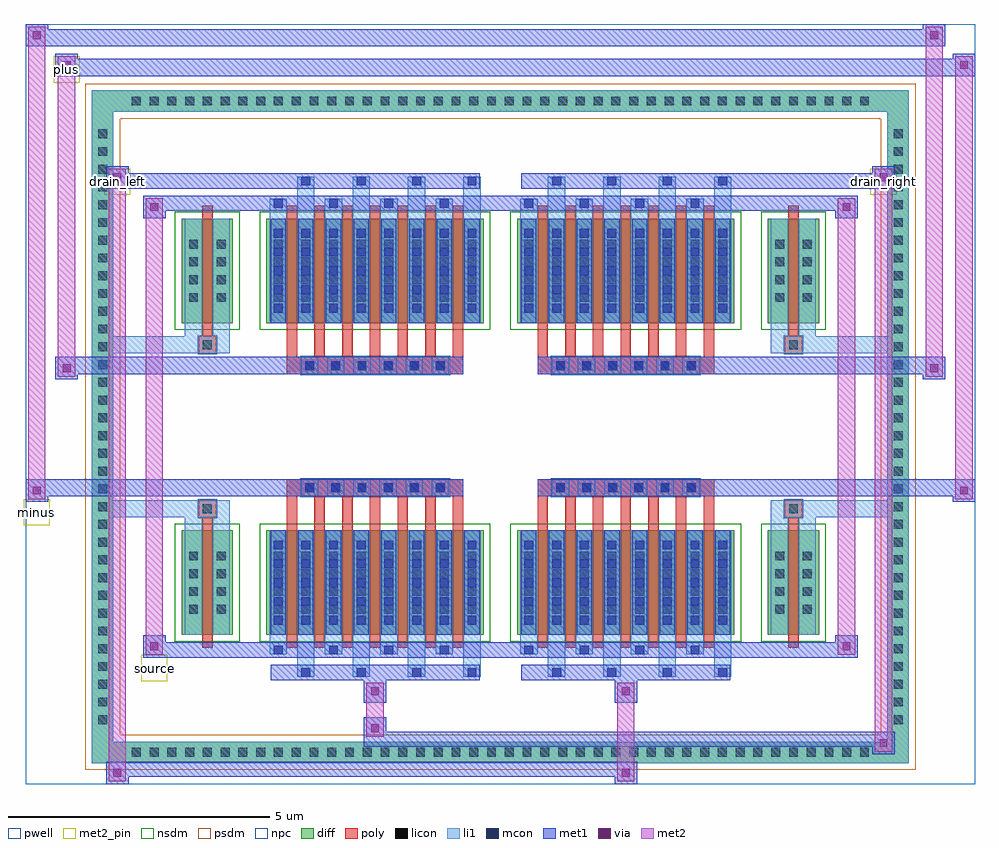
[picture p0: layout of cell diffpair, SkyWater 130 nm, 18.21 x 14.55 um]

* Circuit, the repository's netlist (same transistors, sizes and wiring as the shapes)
* NGSPICE file created from diffpair.ext - technology: sky130A

.subckt diffpair minus drain_right drain_left source plus
X0 drain_left plus source a_n1564_n1288# sky130_fd_pr__nfet_01v8 ad=0.78 pd=4.78 as=0.33 ps=2.33 w=2 l=0.2
X1 drain_right minus source a_n1564_n1288# sky130_fd_pr__nfet_01v8 ad=0.33 pd=2.33 as=0.33 ps=2.33 w=2 l=0.2
X2 source minus drain_right a_n1564_n1288# sky130_fd_pr__nfet_01v8 ad=0.33 pd=2.33 as=0.33 ps=2.33 w=2 l=0.2
X3 source plus drain_left a_n1564_n1288# sky130_fd_pr__nfet_01v8 ad=0.33 pd=2.33 as=0.33 ps=2.33 w=2 l=0.2
X4 drain_right minus source a_n1564_n1288# sky130_fd_pr__nfet_01v8 ad=0.33 pd=2.33 as=0.33 ps=2.33 w=2 l=0.2
X5 drain_right minus source a_n1564_n1288# sky130_fd_pr__nfet_01v8 ad=0.78 pd=4.78 as=0.33 ps=2.33 w=2 l=0.2
X6 source plus drain_left a_n1564_n1288# sky130_fd_pr__nfet_01v8 ad=0.33 pd=2.33 as=0.33 ps=2.33 w=2 l=0.2
X7 drain_left plus source a_n1564_n1288# sky130_fd_pr__nfet_01v8 ad=0.33 pd=2.33 as=0.78 ps=4.78 w=2 l=0.2
X8 source plus drain_left a_n1564_n1288# sky130_fd_pr__nfet_01v8 ad=0.33 pd=2.33 as=0.33 ps=2.33 w=2 l=0.2
X9 drain_left plus source a_n1564_n1288# sky130_fd_pr__nfet_01v8 ad=0.33 pd=2.33 as=0.33 ps=2.33 w=2 l=0.2
X10 source minus drain_right a_n1564_n1288# sky130_fd_pr__nfet_01v8 ad=0.33 pd=2.33 as=0.33 ps=2.33 w=2 l=0.2
X11 source minus drain_right a_n1564_n1288# sky130_fd_pr__nfet_01v8 ad=0.33 pd=2.33 as=0.33 ps=2.33 w=2 l=0.2
X12 a_n1564_n1288# a_n1564_n1288# a_n1564_n1288# a_n1564_n1288# sky130_fd_pr__nfet_01v8 ad=0.78 pd=4.78 as=6.24 ps=38.24 w=2 l=0.2
X13 source plus drain_left a_n1564_n1288# sky130_fd_pr__nfet_01v8 ad=0.33 pd=2.33 as=0.33 ps=2.33 w=2 l=0.2
X14 drain_left plus source a_n1564_n1288# sky130_fd_pr__nfet_01v8 ad=0.78 pd=4.78 as=0.33 ps=2.33 w=2 l=0.2
X15 source minus drain_right a_n1564_n1288# sky130_fd_pr__nfet_01v8 ad=0.33 pd=2.33 as=0.33 ps=2.33 w=2 l=0.2
X16 drain_right minus source a_n1564_n1288# sky130_fd_pr__nfet_01v8 ad=0.33 pd=2.33 as=0.33 ps=2.33 w=2 l=0.2
X17 drain_left plus source a_n1564_n1288# sky130_fd_pr__nfet_01v8 ad=0.33 pd=2.33 as=0.33 ps=2.33 w=2 l=0.2
X18 drain_right minus source a_n1564_n1288# sky130_fd_pr__nfet_01v8 ad=0.33 pd=2.33 as=0.78 ps=4.78 w=2 l=0.2
X19 drain_right minus source a_n1564_n1288# sky130_fd_pr__nfet_01v8 ad=0.33 pd=2.33 as=0.33 ps=2.33 w=2 l=0.2
X20 a_n1564_n1288# a_n1564_n1288# a_n1564_n1288# a_n1564_n1288# sky130_fd_pr__nfet_01v8 ad=0.78 pd=4.78 as=0 ps=0 w=2 l=0.2
X21 a_n1564_n1288# a_n1564_n1288# a_n1564_n1288# a_n1564_n1288# sky130_fd_pr__nfet_01v8 ad=0.78 pd=4.78 as=0 ps=0 w=2 l=0.2
X22 a_n1564_n1288# a_n1564_n1288# a_n1564_n1288# a_n1564_n1288# sky130_fd_pr__nfet_01v8 ad=0.78 pd=4.78 as=0 ps=0 w=2 l=0.2
X23 drain_right minus source a_n1564_n1288# sky130_fd_pr__nfet_01v8 ad=0.33 pd=2.33 as=0.78 ps=4.78 w=2 l=0.2
X24 drain_left plus source a_n1564_n1288# sky130_fd_pr__nfet_01v8 ad=0.33 pd=2.33 as=0.33 ps=2.33 w=2 l=0.2
X25 source plus drain_left a_n1564_n1288# sky130_fd_pr__nfet_01v8 ad=0.33 pd=2.33 as=0.33 ps=2.33 w=2 l=0.2
X26 source minus drain_right a_n1564_n1288# sky130_fd_pr__nfet_01v8 ad=0.33 pd=2.33 as=0.33 ps=2.33 w=2 l=0.2
X27 source plus drain_left a_n1564_n1288# sky130_fd_pr__nfet_01v8 ad=0.33 pd=2.33 as=0.33 ps=2.33 w=2 l=0.2
X28 source minus drain_right a_n1564_n1288# sky130_fd_pr__nfet_01v8 ad=0.33 pd=2.33 as=0.33 ps=2.33 w=2 l=0.2
X29 drain_right minus source a_n1564_n1288# sky130_fd_pr__nfet_01v8 ad=0.78 pd=4.78 as=0.33 ps=2.33 w=2 l=0.2
X30 drain_left plus source a_n1564_n1288# sky130_fd_pr__nfet_01v8 ad=0.33 pd=2.33 as=0.78 ps=4.78 w=2 l=0.2
X31 drain_left plus source a_n1564_n1288# sky130_fd_pr__nfet_01v8 ad=0.33 pd=2.33 as=0.33 ps=2.33 w=2 l=0.2
.ends

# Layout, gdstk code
import gdstk
lib = gdstk.Library(unit=1e-6, precision=5e-09)
def R(c, l, rs):  # rectangles x0, y0, x1, y1
    for r in rs: c.add(gdstk.rectangle(r[:2], r[2:], *l))
def A(c, l, x, y, w, h, nx, ny, dx, dy):  # array of equal rectangles
    R(c, l, [(x+i*dx, y+j*dy, x+i*dx+w, y+j*dy+h) for i in range(nx) for j in range(ny)])
def P(c, l, *ps):  # polygons
    for p in ps: c.add(gdstk.Polygon(p, *l))
pwell = (64, 44)
diff = (65, 20)
poly = (66, 20)
licon = (66, 44)
li1 = (67, 20)
mcon = (67, 44)
met1 = (68, 20)
via = (68, 44)
met2_pin = (69, 16)
met2 = (69, 20)
nsdm = (93, 44)
psdm = (94, 20)
npc = (95, 20)

diffpair = lib.new_cell('diffpair')
R(diffpair, pwell, [(-9.09,-6.84,9.09,7.71), (-6.41,-5.03,-0.01,-0.805), (0.01,-5.03,6.41,-0.805), (-6.41,0.805,-0.01,5.03), (0.01,0.805,6.41,5.03)])
A(diffpair, diff, -7.175, -6.44, 0.41, 0.41, 42, 2, 0.34, 12.47)
A(diffpair, diff, -7.82, -5.815, 0.41, 0.41, 1, 34, 0, 0.34)
A(diffpair, diff, 7.41, -5.815, 0.41, 0.41, 1, 34, 0, 0.34)
R(diffpair, diff, [(-7.175,-6.44,7.175,-6.03), (-7.82,-5.815,-7.41,5.815), (7.41,-5.815,7.82,5.815), (-6.1,-3.985,-5.12,-1.985), (-4.48,-3.985,-0.32,-1.985), (0.32,-3.985,4.48,-1.985), (5.12,-3.985,6.1,-1.985), (-6.1,1.985,-5.12,3.985), (-4.48,1.985,-0.32,3.985), (0.32,1.985,4.48,3.985), (5.12,1.985,6.1,3.985), (-7.175,6.03,7.175,6.44)])
P(diffpair, diff, [(7.82,6.44),(-7.82,6.44),(-7.82,-6.03),(-7.41,-6.03),(-7.41,6.03),(7.41,6.03),(7.41,-6.03),(-7.41,-6.03),(-7.82,-6.03),(-7.82,-6.44),(7.82,-6.44)])
A(diffpair, poly, -4.09, -4.235, 0.2, 2.5, 7, 2, 0.53, 5.97)
A(diffpair, poly, 0.71, -4.235, 0.2, 2.5, 7, 2, 0.53, 5.97)
A(diffpair, poly, -4.09, -1.735, 0.2, 0.4, 7, 2, 0.53, 3.07)
A(diffpair, poly, 0.71, -1.735, 0.2, 0.4, 7, 2, 0.53, 3.07)
A(diffpair, poly, -3.815, -1.335, 0.33, 0.33, 6, 2, 0.5, 2.34)
A(diffpair, poly, 0.985, -1.335, 0.33, 0.33, 6, 2, 0.5, 2.34)
R(diffpair, poly, [(-5.71,-4.235,-5.51,-1.735), (5.51,-4.235,5.71,-1.735), (-5.775,-1.735,-5.445,-1.405), (-5.775,-1.735,-5.445,-1.405), (5.445,-1.735,5.775,-1.405), (5.445,-1.735,5.775,-1.405), (-4.09,-1.335,-0.71,-1.005), (0.71,-1.335,4.09,-1.005), (-4.09,1.005,-0.71,1.335), (0.71,1.005,4.09,1.335), (-5.775,1.405,-5.445,1.735), (-5.775,1.405,-5.445,1.735), (5.445,1.405,5.775,1.735), (5.445,1.405,5.775,1.735), (-5.71,1.735,-5.51,4.235), (5.51,1.735,5.71,4.235)])
A(diffpair, licon, -7.055, -6.32, 0.17, 0.17, 42, 2, 0.34, 12.47)
A(diffpair, licon, -7.7, -5.695, 0.17, 0.17, 1, 34, 0, 0.34)
A(diffpair, licon, 7.53, -5.695, 0.17, 0.17, 1, 34, 0, 0.34)
A(diffpair, licon, -5.96, -3.58, 0.17, 0.17, 1, 4, 0, 0.34)
A(diffpair, licon, -5.43, -3.58, 0.17, 0.17, 1, 4, 0, 0.34)
A(diffpair, licon, -4.34, -3.58, 0.17, 0.17, 8, 4, 0.53, 0.34)
A(diffpair, licon, 0.46, -3.58, 0.17, 0.17, 8, 4, 0.53, 0.34)
A(diffpair, licon, 5.26, -3.58, 0.17, 0.17, 1, 4, 0, 0.34)
A(diffpair, licon, 5.79, -3.58, 0.17, 0.17, 1, 4, 0, 0.34)
A(diffpair, licon, -3.735, -1.255, 0.17, 0.17, 6, 2, 0.5, 2.34)
A(diffpair, licon, 1.065, -1.255, 0.17, 0.17, 6, 2, 0.5, 2.34)
A(diffpair, licon, -5.96, 2.39, 0.17, 0.17, 1, 4, 0, 0.34)
A(diffpair, licon, -5.43, 2.39, 0.17, 0.17, 1, 4, 0, 0.34)
A(diffpair, licon, -4.34, 2.39, 0.17, 0.17, 8, 4, 0.53, 0.34)
A(diffpair, licon, 0.46, 2.39, 0.17, 0.17, 8, 4, 0.53, 0.34)
A(diffpair, licon, 5.26, 2.39, 0.17, 0.17, 1, 4, 0, 0.34)
A(diffpair, licon, 5.79, 2.39, 0.17, 0.17, 1, 4, 0, 0.34)
R(diffpair, licon, [(-5.695,-1.655,-5.525,-1.485), (5.525,-1.655,5.695,-1.485), (-5.695,1.485,-5.525,1.655), (5.525,1.485,5.695,1.655)])
A(diffpair, li1, -7.135, -6.4, 0.33, 0.33, 42, 2, 0.34, 12.47)
A(diffpair, li1, -7.78, -5.775, 0.33, 0.33, 1, 34, 0, 0.34)
A(diffpair, li1, 7.45, -5.775, 0.33, 0.33, 1, 34, 0, 0.34)
A(diffpair, li1, -3.89, -4.79, 0.33, 0.805, 4, 2, 1.06, 8.775)
A(diffpair, li1, -3.81, -4.79, 0.17, 0.17, 4, 2, 1.06, 9.41)
A(diffpair, li1, 0.91, -4.79, 0.33, 0.805, 4, 2, 1.06, 8.775)
A(diffpair, li1, 0.99, -4.79, 0.17, 0.17, 4, 2, 1.06, 9.41)
A(diffpair, li1, -4.42, -4.36, 0.33, 0.375, 4, 2, 1.06, 8.345)
A(diffpair, li1, -4.34, -4.36, 0.17, 0.17, 4, 2, 1.06, 8.55)
A(diffpair, li1, 0.38, -4.36, 0.33, 0.375, 4, 2, 1.06, 8.345)
A(diffpair, li1, 0.46, -4.36, 0.17, 0.17, 4, 2, 1.06, 8.55)
A(diffpair, li1, -4.42, -3.985, 0.33, 2, 8, 2, 0.53, 5.97)
A(diffpair, li1, 0.38, -3.985, 0.33, 2, 8, 2, 0.53, 5.97)
A(diffpair, li1, -4.34, -3.79, 0.17, 0.17, 8, 5, 0.53, 0.36)
A(diffpair, li1, -4.34, -3.79, 0.17, 1.61, 8, 2, 0.53, 5.97)
A(diffpair, li1, 0.46, -3.79, 0.17, 0.17, 8, 5, 0.53, 0.36)
A(diffpair, li1, 0.46, -3.79, 0.17, 1.61, 8, 2, 0.53, 5.97)
A(diffpair, li1, -6.04, -3.66, 0.33, 0.33, 1, 4, 0, 0.34)
A(diffpair, li1, -5.51, -3.66, 0.33, 0.33, 1, 4, 0, 0.34)
A(diffpair, li1, -4.42, -3.66, 0.33, 0.33, 8, 4, 0.53, 0.34)
A(diffpair, li1, 0.38, -3.66, 0.33, 0.33, 8, 4, 0.53, 0.34)
A(diffpair, li1, 5.18, -3.66, 0.33, 0.33, 1, 4, 0, 0.34)
A(diffpair, li1, 5.71, -3.66, 0.33, 0.33, 1, 4, 0, 0.34)
A(diffpair, li1, -3.815, -1.335, 0.33, 0.33, 6, 2, 0.5, 2.34)
A(diffpair, li1, 0.985, -1.335, 0.33, 0.33, 6, 2, 0.5, 2.34)
A(diffpair, li1, -4.34, 2.18, 0.17, 0.17, 8, 5, 0.53, 0.36)
A(diffpair, li1, 0.46, 2.18, 0.17, 0.17, 8, 5, 0.53, 0.36)
A(diffpair, li1, -6.04, 2.31, 0.33, 0.33, 1, 4, 0, 0.34)
A(diffpair, li1, -5.51, 2.31, 0.33, 0.33, 1, 4, 0, 0.34)
A(diffpair, li1, -4.42, 2.31, 0.33, 0.33, 8, 4, 0.53, 0.34)
A(diffpair, li1, 0.38, 2.31, 0.33, 0.33, 8, 4, 0.53, 0.34)
A(diffpair, li1, 5.18, 2.31, 0.33, 0.33, 1, 4, 0, 0.34)
A(diffpair, li1, 5.71, 2.31, 0.33, 0.33, 1, 4, 0, 0.34)
R(diffpair, li1, [(-7.82,-6.44,-7.41,-6.03), (-7.82,-6.44,-7.41,-6.03), (-7.41,-6.44,7.41,-6.03), (7.41,-6.44,7.82,-6.03), (7.41,-6.44,7.82,-6.03), (-7.82,-6.03,-7.41,6.03), (7.41,-6.03,7.82,6.03), (-6.04,-3.985,-5.71,-1.985), (-5.51,-3.985,-5.18,-1.985), (5.18,-3.985,5.51,-1.985), (5.71,-3.985,6.04,-1.985), (-6.04,-1.985,-5.71,-1.405), (-5.51,-1.985,-5.18,-1.405), (5.18,-1.985,5.51,-1.405), (5.71,-1.985,6.04,-1.405), (-7.82,-1.735,-5.775,-1.405), (-6.04,-1.735,-5.775,-1.405), (-5.775,-1.735,-5.445,-1.405), (-5.445,-1.735,-5.18,-1.405), (5.18,-1.735,5.445,-1.405), (5.445,-1.735,5.775,-1.405), (5.445,-1.735,7.82,-1.405), (5.775,-1.735,6.04,-1.405), (-7.82,1.405,-5.775,1.735), (-6.04,1.405,-5.775,1.735), (-6.04,1.405,-5.71,1.985), (-5.775,1.405,-5.445,1.735), (-5.51,1.405,-5.18,1.985), (-5.445,1.405,-5.18,1.735), (5.18,1.405,5.445,1.735), (5.18,1.405,5.51,1.985), (5.445,1.405,5.775,1.735), (5.445,1.405,7.82,1.735), (5.71,1.405,6.04,1.985), (5.775,1.405,6.04,1.735), (-6.04,1.985,-5.71,3.985), (-5.51,1.985,-5.18,3.985), (5.18,1.985,5.51,3.985), (5.71,1.985,6.04,3.985), (-7.82,6.03,-7.41,6.44), (-7.82,6.03,-7.41,6.44), (-7.41,6.03,7.41,6.44), (7.41,6.03,7.82,6.44), (7.41,6.03,7.82,6.44)])
A(diffpair, mcon, -3.81, -4.79, 0.17, 0.17, 4, 2, 1.06, 9.41)
A(diffpair, mcon, 0.99, -4.79, 0.17, 0.17, 4, 2, 1.06, 9.41)
A(diffpair, mcon, -4.34, -4.36, 0.17, 0.17, 4, 2, 1.06, 8.55)
A(diffpair, mcon, 0.46, -4.36, 0.17, 0.17, 4, 2, 1.06, 8.55)
A(diffpair, mcon, -4.34, -3.79, 0.17, 0.17, 8, 5, 0.53, 0.36)
A(diffpair, mcon, 0.46, -3.79, 0.17, 0.17, 8, 5, 0.53, 0.36)
A(diffpair, mcon, -3.735, -1.255, 0.17, 0.17, 6, 2, 0.5, 2.34)
A(diffpair, mcon, 1.065, -1.255, 0.17, 0.17, 6, 2, 0.5, 2.34)
A(diffpair, mcon, -4.34, 2.18, 0.17, 0.17, 8, 5, 0.53, 0.36)
A(diffpair, mcon, 0.46, 2.18, 0.17, 0.17, 8, 5, 0.53, 0.36)
A(diffpair, met1, -3.87, -4.85, 0.29, 0.29, 4, 2, 1.06, 9.41)
A(diffpair, met1, 0.93, -4.85, 0.29, 0.29, 4, 2, 1.06, 9.41)
A(diffpair, met1, -4.4, -4.42, 0.29, 0.29, 4, 2, 1.06, 8.55)
A(diffpair, met1, 0.4, -4.42, 0.29, 0.29, 4, 2, 1.06, 8.55)
A(diffpair, met1, -4.4, -3.985, 0.29, 2, 8, 2, 0.53, 5.97)
A(diffpair, met1, 0.4, -3.985, 0.29, 2, 8, 2, 0.53, 5.97)
A(diffpair, met1, -4.4, -3.85, 0.29, 0.29, 8, 5, 0.53, 0.36)
A(diffpair, met1, 0.4, -3.85, 0.29, 0.29, 8, 5, 0.53, 0.36)
A(diffpair, met1, -3.795, -1.315, 0.29, 0.29, 6, 2, 0.5, 2.34)
A(diffpair, met1, 1.005, -1.315, 0.29, 0.29, 6, 2, 0.5, 2.34)
A(diffpair, met1, -4.4, 2.12, 0.29, 0.29, 8, 5, 0.53, 0.36)
A(diffpair, met1, 0.4, 2.12, 0.29, 0.29, 8, 5, 0.53, 0.36)
R(diffpair, met1, [(-7.55,-6.84,-7.12,-6.41), (2.185,-6.84,2.615,-6.41), (-7.55,-6.7,2.615,-6.41), (7.12,-6.27,7.55,-5.84), (-2.615,-6.13,7.55,-5.84), (-2.615,-5.99,-2.185,-5.56), (-2.615,-5.28,-2.185,-4.85), (2.185,-5.28,2.615,-4.85), (-4.4,-4.85,-0.4,-4.56), (0.4,-4.85,4.4,-4.56), (-6.84,-4.42,-6.41,-3.99), (-6.84,-4.42,-4.4,-4.13), (-4.4,-4.42,-0.4,-4.13), (-0.4,-4.42,0.4,-4.13), (0.4,-4.42,4.4,-4.13), (4.4,-4.42,6.84,-4.13), (6.41,-4.42,6.84,-3.99), (-9.09,-1.435,-8.66,-1.005), (8.66,-1.435,9.09,-1.005), (-9.09,-1.335,-0.71,-1.005), (-4.09,-1.335,-0.71,-1.005), (0.71,-1.335,4.09,-1.005), (0.71,-1.335,9.09,-1.005), (-8.52,0.905,-8.09,1.335), (8.09,0.905,8.52,1.335), (-8.52,1.005,-4.09,1.335), (-4.09,1.005,-0.71,1.335), (0.71,1.005,4.09,1.335), (4.09,1.005,8.52,1.335), (-6.84,3.99,-6.41,4.42), (6.41,3.99,6.84,4.42), (-6.84,4.13,-4.4,4.42), (-4.4,4.13,-0.4,4.42), (-0.4,4.13,0.4,4.42), (0.4,4.13,4.4,4.42), (4.4,4.13,6.84,4.42), (-7.55,4.56,-7.12,4.99), (-7.55,4.56,-4.4,4.85), (-4.4,4.56,-0.4,4.85), (0.4,4.56,4.4,4.85), (4.4,4.56,7.55,4.85), (7.12,4.56,7.55,4.99), (-8.52,6.71,-8.09,7.14), (-8.52,6.71,-6.41,7.04), (-6.41,6.71,6.41,7.04), (6.41,6.71,9.09,7.04), (8.66,6.71,9.09,7.14), (-9.09,7.28,-8.66,7.71), (-9.09,7.28,-6.41,7.61), (-6.41,7.28,6.41,7.61), (6.41,7.28,8.52,7.61), (8.09,7.28,8.52,7.71)])
R(diffpair, via, [(-7.41,-6.7,-7.26,-6.55), (2.325,-6.7,2.475,-6.55), (7.26,-6.13,7.41,-5.98), (-2.475,-5.85,-2.325,-5.7), (-2.475,-5.14,-2.325,-4.99), (2.325,-5.14,2.475,-4.99), (-6.7,-4.28,-6.55,-4.13), (6.55,-4.28,6.7,-4.13), (-8.95,-1.295,-8.8,-1.145), (8.8,-1.295,8.95,-1.145), (-8.38,1.045,-8.23,1.195), (8.23,1.045,8.38,1.195), (-6.7,4.13,-6.55,4.28), (6.55,4.13,6.7,4.28), (-7.41,4.7,-7.26,4.85), (7.26,4.7,7.41,4.85), (-8.38,6.85,-8.23,7), (8.8,6.85,8.95,7), (-8.95,7.42,-8.8,7.57), (8.23,7.42,8.38,7.57)])
R(diffpair, met2_pin, [(-6.875,-4.87,-6.375,-4.37), (-9.125,-1.885,-8.625,-1.385), (-7.585,4.44,-7.085,4.94), (7.085,4.44,7.585,4.94), (-8.555,6.59,-8.055,7.09)])
R(diffpair, met2, [(-7.5,-6.79,-7.17,-6.46), (-7.5,-6.79,-7.17,4.94), (2.235,-6.79,2.565,-6.46), (2.235,-6.46,2.565,-5.23), (7.17,-6.22,7.5,-5.89), (7.17,-6.22,7.5,4.94), (-2.565,-5.94,-2.235,-5.61), (-2.565,-5.61,-2.235,-5.23), (-2.565,-5.23,-2.235,-4.9), (2.235,-5.23,2.565,-4.9), (-6.79,-4.37,-6.46,-4.04), (-6.79,-4.37,-6.46,4.37), (6.46,-4.37,6.79,-4.04), (6.46,-4.37,6.79,4.37), (-9.04,-1.385,-8.71,-1.055), (-9.04,-1.385,-8.71,7.66), (8.71,-1.385,9.04,-1.055), (8.71,-1.385,9.04,7.09), (-8.47,0.955,-8.14,1.285), (-8.47,0.955,-8.14,7.09), (8.14,0.955,8.47,1.285), (8.14,0.955,8.47,7.66), (-6.79,4.04,-6.46,4.37), (6.46,4.04,6.79,4.37), (-7.5,4.61,-7.17,4.94), (7.17,4.61,7.5,4.94), (-8.47,6.76,-8.14,7.09), (8.71,6.76,9.04,7.09), (-9.04,7.33,-8.71,7.66), (8.14,7.33,8.47,7.66)])
P(diffpair, met2, [(9.04,-1.385),(9.04,-1.385),(9.04,-1.055),(9.04,-1.055)],
  [(9.04,6.76),(9.04,6.76),(9.04,7.09),(9.04,7.09)],
  [(-8.71,-1.385),(-8.71,-1.385),(-8.71,-1.055),(-8.71,-1.055)],
  [(-8.71,7.33),(-8.71,7.33),(-8.71,7.66),(-8.71,7.66)],
  [(8.47,0.955),(8.47,0.955),(8.47,1.285),(8.47,1.285)],
  [(8.47,7.33),(8.47,7.33),(8.47,7.66),(8.47,7.66)],
  [(-8.14,0.955),(-8.14,0.955),(-8.14,1.285),(-8.14,1.285)],
  [(-8.14,6.76),(-8.14,6.76),(-8.14,7.09),(-8.14,7.09)],
  [(-7.17,-6.79),(-7.17,-6.79),(-7.17,-6.46),(-7.17,-6.46)],
  [(-7.17,4.61),(-7.17,4.61),(-7.17,4.94),(-7.17,4.94)],
  [(7.5,-6.22),(7.5,-6.22),(7.5,-5.89),(7.5,-5.89)],
  [(7.5,4.61),(7.5,4.61),(7.5,4.94),(7.5,4.94)],
  [(-6.46,-4.37),(-6.46,-4.37),(-6.46,-4.04),(-6.46,-4.04)],
  [(-6.46,4.04),(-6.46,4.04),(-6.46,4.37),(-6.46,4.37)],
  [(6.79,-4.37),(6.79,-4.37),(6.79,-4.04),(6.79,-4.04)],
  [(6.79,4.04),(6.79,4.04),(6.79,4.37),(6.79,4.37)])
R(diffpair, nsdm, [(-6.23,-4.115,-4.99,-1.855), (-4.61,-4.115,-0.19,-1.855), (0.19,-4.115,4.61,-1.855), (4.99,-4.115,6.23,-1.855), (-6.23,1.855,-4.99,4.115), (-4.61,1.855,-0.19,4.115), (0.19,1.855,4.61,4.115), (4.99,1.855,6.23,4.115)])
P(diffpair, psdm, [(7.95,6.57),(-7.95,6.57),(-7.95,-5.9),(-7.28,-5.9),(-7.28,5.9),(7.28,5.9),(7.28,-5.9),(-7.28,-5.9),(-7.95,-5.9),(-7.95,-6.57),(7.95,-6.57)])
A(diffpair, npc, -3.835, -1.355, 0.37, 0.37, 6, 2, 0.5, 2.34)
A(diffpair, npc, 0.965, -1.355, 0.37, 0.37, 6, 2, 0.5, 2.34)
R(diffpair, npc, [(-5.795,-1.755,-5.425,-1.385), (5.425,-1.755,5.795,-1.385), (-3.835,-1.355,-2.965,-0.985), (-3.835,-1.355,-2.965,-0.985), (-3.335,-1.355,-2.465,-0.985), (-3.335,-1.355,-2.465,-0.985), (-2.835,-1.355,-1.965,-0.985), (-2.835,-1.355,-1.965,-0.985), (-2.335,-1.355,-1.465,-0.985), (-2.335,-1.355,-1.465,-0.985), (-1.835,-1.355,-0.965,-0.985), (-1.835,-1.355,-0.965,-0.985), (0.965,-1.355,1.835,-0.985), (0.965,-1.355,1.835,-0.985), (1.465,-1.355,2.335,-0.985), (1.465,-1.355,2.335,-0.985), (1.965,-1.355,2.835,-0.985), (1.965,-1.355,2.835,-0.985), (2.465,-1.355,3.335,-0.985), (2.465,-1.355,3.335,-0.985), (2.965,-1.355,3.835,-0.985), (2.965,-1.355,3.835,-0.985), (-3.835,0.985,-2.965,1.355), (-3.835,0.985,-2.965,1.355), (-3.335,0.985,-2.465,1.355), (-3.335,0.985,-2.465,1.355), (-2.835,0.985,-1.965,1.355), (-2.835,0.985,-1.965,1.355), (-2.335,0.985,-1.465,1.355), (-2.335,0.985,-1.465,1.355), (-1.835,0.985,-0.965,1.355), (-1.835,0.985,-0.965,1.355), (0.965,0.985,1.835,1.355), (0.965,0.985,1.835,1.355), (1.465,0.985,2.335,1.355), (1.465,0.985,2.335,1.355), (1.965,0.985,2.835,1.355), (1.965,0.985,2.835,1.355), (2.465,0.985,3.335,1.355), (2.465,0.985,3.335,1.355), (2.965,0.985,3.835,1.355), (2.965,0.985,3.835,1.355), (-5.795,1.385,-5.425,1.755), (5.425,1.385,5.795,1.755)])
diffpair.add(gdstk.Label('minus', (-8.875,-1.635), layer=69, texttype=5))
diffpair.add(gdstk.Label('drain_right', (7.335,4.69), layer=69, texttype=5))
diffpair.add(gdstk.Label('drain_left', (-7.335,4.69), layer=69, texttype=5))
diffpair.add(gdstk.Label('source', (-6.625,-4.62), layer=69, texttype=5))
diffpair.add(gdstk.Label('plus', (-8.305,6.84), layer=69, texttype=5))

lib.write_gds('diffpair.gds')
